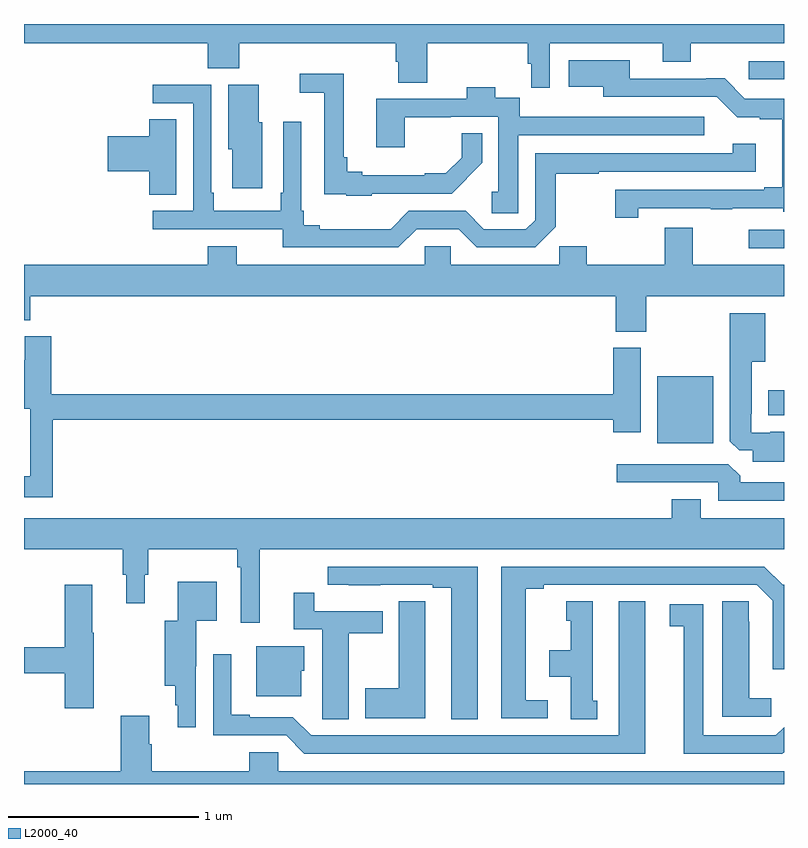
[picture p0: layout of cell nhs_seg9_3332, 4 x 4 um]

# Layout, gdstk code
import gdstk
lib = gdstk.Library(unit=1e-6, precision=1e-09)
def R(c, l, rs):  # rectangles x0, y0, x1, y1
    for r in rs: c.add(gdstk.rectangle(r[:2], r[2:], *l))
def P(c, l, *ps):  # polygons
    for p in ps: c.add(gdstk.Polygon(p, *l))
L2000_40 = (2000, 40)

nhs_seg9_3332 = lib.new_cell('nhs_seg9_3332')
R(nhs_seg9_3332, L2000_40, [(304.334,1214.294,304.627,1214.647), (304.916,1214.441,305,1214.572), (304.815,1215.321,305,1215.417), (304.815,1216.209,305,1216.305)])
P(nhs_seg9_3332, L2000_40, [(303.768,1216.4),(304.361,1216.4),(304.361,1216.301),(304.509,1216.301),(304.509,1216.4),(305,1216.4),(305,1216.5),(301,1216.5),(301,1216.4),(301.967,1216.4),(301.967,1216.266),(302.132,1216.266),(302.132,1216.4),(302.957,1216.4),(302.957,1216.302),(302.969,1216.302),(302.969,1216.192),(303.122,1216.192),(303.122,1216.4),(303.652,1216.4),(303.652,1216.29),(303.671,1216.29),(303.671,1216.164),(303.768,1216.164)],
  [(304.233,1215.531),(304.615,1215.531),(304.615,1215.526),(304.727,1215.526),(304.727,1215.531),(304.995,1215.531),(304.995,1215.513),(305,1215.513),(305,1216.107),(304.794,1216.107),(304.688,1216.214),(304.592,1216.214),(304.592,1216.212),(304.189,1216.212),(304.189,1216.309),(303.867,1216.309),(303.867,1216.169),(304.049,1216.169),(304.049,1216.116),(304.647,1216.116),(304.753,1216.01),(304.872,1216.01),(304.872,1215.999),(304.991,1215.999),(304.991,1215.64),(304.895,1215.64),(304.895,1215.627),(304.113,1215.627),(304.113,1215.48),(304.233,1215.48)],
  [(302.829,1215.606),(303.25,1215.606),(303.329,1215.685),(303.328,1215.686),(303.412,1215.769),(303.412,1215.926),(303.303,1215.926),(303.303,1215.797),(303.219,1215.714),(303.11,1215.714),(303.11,1215.703),(302.779,1215.703),(302.779,1215.722),(302.701,1215.722),(302.701,1215.799),(302.683,1215.799),(302.683,1216.237),(302.451,1216.237),(302.451,1216.139),(302.579,1216.139),(302.579,1215.605),(302.697,1215.605),(302.697,1215.596),(302.829,1215.596)],
  [(302.254,1215.984),(302.236,1215.984),(302.236,1216.18),(302.075,1216.18),(302.075,1215.84),(302.096,1215.84),(302.096,1215.636),(302.254,1215.636)],
  [(303.066,1215.42),(303.288,1215.42),(303.384,1215.324),(303.69,1215.324),(303.799,1215.433),(303.799,1215.711),(304.025,1215.711),(304.025,1215.723),(304.852,1215.723),(304.852,1215.871),(304.731,1215.871),(304.731,1215.819),(303.69,1215.819),(303.69,1215.468),(303.642,1215.42),(303.42,1215.42),(303.324,1215.516),(303.024,1215.516),(302.929,1215.421),(302.557,1215.421),(302.557,1215.44),(302.473,1215.44),(302.473,1215.517),(302.46,1215.517),(302.46,1215.985),(302.364,1215.985),(302.364,1215.613),(302.352,1215.613),(302.352,1215.516),(301.999,1215.516),(301.999,1215.613),(301.986,1215.613),(301.986,1216.179),(301.677,1216.179),(301.677,1216.083),(301.89,1216.083),(301.89,1215.516),(301.677,1215.516),(301.677,1215.42),(302.362,1215.42),(302.362,1215.324),(302.97,1215.324)],
  [(303.6,1215.613),(303.601,1215.613),(303.601,1215.915),(304.579,1215.915),(304.579,1216.011),(303.879,1216.011),(303.879,1216.012),(303.61,1216.012),(303.61,1216.111),(303.481,1216.111),(303.481,1216.168),(303.329,1216.168),(303.329,1216.107),(302.855,1216.107),(302.855,1215.852),(303.003,1215.852),(303.003,1216.01),(303.245,1216.01),(303.245,1216.011),(303.497,1216.011),(303.497,1215.616),(303.462,1215.616),(303.462,1215.505),(303.6,1215.505)],
  [(301.801,1215.998),(301.658,1215.998),(301.658,1215.908),(301.44,1215.908),(301.44,1215.725),(301.658,1215.725),(301.658,1215.601),(301.801,1215.601)],
  [(304.275,1215.068),(305,1215.068),(305,1215.232),(304.519,1215.232),(304.519,1215.427),(304.372,1215.427),(304.372,1215.232),(303.963,1215.232),(303.963,1215.33),(303.817,1215.33),(303.817,1215.232),(303.246,1215.232),(303.246,1215.33),(303.108,1215.33),(303.108,1215.232),(302.119,1215.232),(302.119,1215.331),(301.967,1215.331),(301.967,1215.232),(301,1215.232),(301,1214.942),(301.034,1214.942),(301.034,1215.068),(304.115,1215.068),(304.115,1214.881),(304.275,1214.881)],
  [(305,1214.353),(304.927,1214.353),(304.927,1214.349),(304.827,1214.349),(304.827,1214.449),(304.831,1214.449),(304.831,1214.723),(304.9,1214.723),(304.9,1214.977),(304.715,1214.977),(304.715,1214.305),(304.764,1214.256),(304.835,1214.256),(304.835,1214.195),(305,1214.195)],
  [(301.151,1214.416),(304.1,1214.416),(304.1,1214.352),(304.246,1214.352),(304.246,1214.796),(304.1,1214.796),(304.1,1214.552),(301.144,1214.552),(301.144,1214.857),(301.004,1214.857),(301.004,1214.731),(301,1214.731),(301,1214.474),(301.034,1214.474),(301.034,1214.119),(301,1214.119),(301,1214.01),(301.151,1214.01)],
  [(305,1214.088),(304.769,1214.088),(304.769,1214.122),(304.707,1214.184),(304.119,1214.184),(304.119,1214.088),(304.653,1214.088),(304.653,1213.992),(305,1213.992)],
  [(302.24,1213.736),(305,1213.736),(305,1213.9),(304.561,1213.9),(304.561,1213.999),(304.409,1213.999),(304.409,1213.9),(301,1213.9),(301,1213.736),(301.519,1213.736),(301.519,1213.602),(301.538,1213.602),(301.538,1213.452),(301.636,1213.452),(301.636,1213.602),(301.655,1213.602),(301.655,1213.736),(302.122,1213.736),(302.122,1213.64),(302.142,1213.64),(302.142,1213.35),(302.24,1213.35)],
  [(303.388,1213.644),(302.598,1213.644),(302.598,1213.548),(302.71,1213.548),(302.71,1213.547),(302.876,1213.547),(302.876,1213.548),(303.152,1213.548),(303.152,1213.533),(303.248,1213.533),(303.248,1212.841),(303.388,1212.841)],
  [(303.757,1212.942),(303.64,1212.942),(303.64,1213.528),(303.736,1213.528),(303.736,1213.548),(304.857,1213.548),(304.941,1213.464),(304.941,1213.104),(305,1213.104),(305,1213.548),(304.993,1213.548),(304.897,1213.644),(303.512,1213.644),(303.512,1212.846),(303.757,1212.846)],
  [(301.905,1213.12),(301.906,1213.12),(301.906,1213.358),(302.014,1213.358),(302.014,1213.564),(301.808,1213.564),(301.808,1213.36),(301.741,1213.36),(301.741,1213.016),(301.797,1213.016),(301.797,1212.915),(301.808,1212.915),(301.808,1212.798),(301.905,1212.798)],
  [(301.368,1213.297),(301.36,1213.297),(301.36,1213.549),(301.214,1213.549),(301.214,1213.22),(301,1213.22),(301,1213.084),(301.214,1213.084),(301.214,1212.9),(301.368,1212.9)],
  [(302.71,1213.294),(302.887,1213.294),(302.887,1213.41),(302.528,1213.41),(302.528,1213.507),(302.42,1213.507),(302.42,1213.314),(302.57,1213.314),(302.57,1212.952),(302.571,1212.952),(302.571,1212.841),(302.71,1212.841)],
  [(304.933,1212.952),(304.816,1212.952),(304.816,1213.355),(304.815,1213.355),(304.815,1213.463),(304.676,1213.463),(304.676,1212.855),(304.933,1212.855)],
  [(303.112,1213.355),(303.111,1213.355),(303.111,1213.463),(302.972,1213.463),(302.972,1213.005),(302.795,1213.005),(302.795,1212.845),(303.112,1212.845)],
  [(304.018,1212.939),(303.994,1212.939),(303.994,1213.462),(303.854,1213.462),(303.854,1213.359),(303.878,1213.359),(303.878,1213.204),(303.764,1213.204),(303.764,1213.064),(303.878,1213.064),(303.878,1212.841),(304.018,1212.841)],
  [(304.27,1213.462),(304.13,1213.462),(304.13,1212.756),(302.511,1212.756),(302.415,1212.852),(302.188,1212.852),(302.188,1212.865),(302.092,1212.865),(302.092,1213.183),(301.995,1213.183),(301.995,1212.756),(302.379,1212.756),(302.475,1212.66),(304.27,1212.66)],
  [(305,1212.668),(305,1212.8),(304.956,1212.756),(304.576,1212.756),(304.576,1213.446),(304.398,1213.446),(304.398,1213.33),(304.472,1213.33),(304.472,1212.66),(304.992,1212.66)],
  [(302.458,1213.095),(302.476,1213.095),(302.476,1213.225),(302.222,1213.225),(302.222,1212.962),(302.458,1212.962)],
  [(305,1212.568),(302.337,1212.568),(302.337,1212.666),(302.186,1212.666),(302.186,1212.568),(301.673,1212.568),(301.673,1212.71),(301.66,1212.71),(301.66,1212.859),(301.508,1212.859),(301.508,1212.568),(301,1212.568),(301,1212.5),(305,1212.5)])

lib.write_gds('nhs_seg9_3332.gds')
